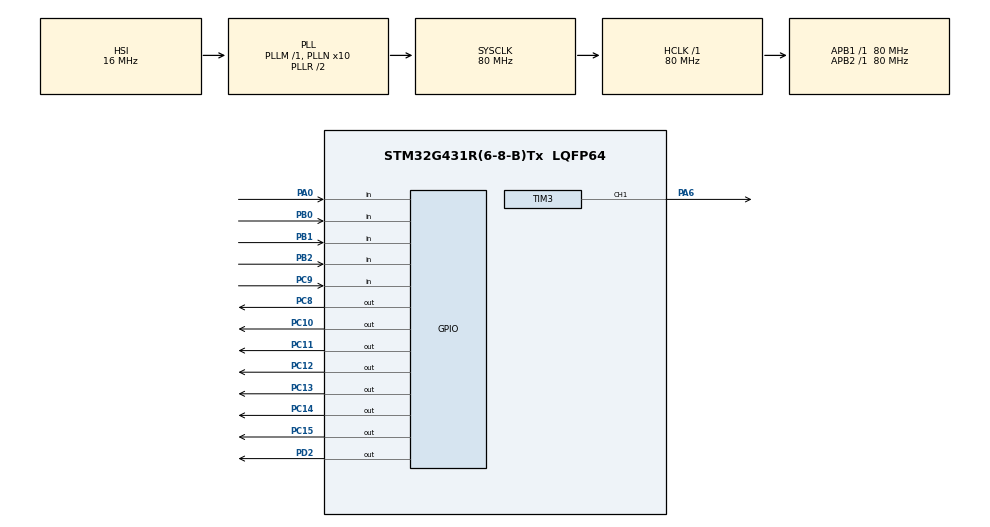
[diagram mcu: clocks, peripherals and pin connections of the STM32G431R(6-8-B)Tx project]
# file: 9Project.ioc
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Mcu.Family=STM32G4
Mcu.Name=STM32G431R(6-8-B)Tx
Mcu.Package=LQFP64
NVIC.PriorityGroup=NVIC_PRIORITYGROUP_4
PA0.Signal=GPIO_Input
PA13.Mode=Serial_Wire
PA13.Signal=SYS_JTMS-SWDIO
PA14.Mode=Serial_Wire
PA14.Signal=SYS_JTCK-SWCLK
PA6.Signal=S_TIM3_CH1
PB0.Signal=GPIO_Input
PB1.Signal=GPIO_Input
PB2.Signal=GPIO_Input
PC10.Signal=GPIO_Output
PC11.Signal=GPIO_Output
PC12.Signal=GPIO_Output
PC13.Signal=GPIO_Output
PC14-OSC32_IN.Signal=GPIO_Output
PC15-OSC32_OUT.Signal=GPIO_Output
PC8.Signal=GPIO_Output
PC9.Signal=GPIO_Input
PD2.Signal=GPIO_Output
PF0-OSC_IN.Mode=HSE-External-Oscillator
PF0-OSC_IN.Signal=RCC_OSC_IN
PF1-OSC_OUT.Mode=HSE-External-Oscillator
PF1-OSC_OUT.Signal=RCC_OSC_OUT
ProjectManager.HeapSize=0x200
ProjectManager.StackSize=0x400
ProjectManager.TargetToolchain=MDK-ARM V5
RCC.ADC12Freq_Value=80000000
RCC.AHBFreq_Value=80000000
RCC.APB1Freq_Value=80000000
RCC.APB1TimFreq_Value=80000000
RCC.APB2Freq_Value=80000000
RCC.APB2TimFreq_Value=80000000
RCC.CortexFreq_Value=80000000
RCC.EXTERNAL_CLOCK_VALUE=12288000
RCC.HCLKFreq_Value=80000000
RCC.HSE_VALUE=24000000
RCC.HSI48_VALUE=48000000
RCC.HSI_VALUE=16000000
RCC.LSE_VALUE=32768
RCC.PLLN=10
RCC.SYSCLKFreq_VALUE=80000000
RCC.SYSCLKSource=RCC_SYSCLKSOURCE_PLLCLK
RCC.USBFreq_Value=80000000
RCC.VCOOutputFreq_Value=160000000
SH.S_TIM3_CH1.0=TIM3_CH1,PWM Generation1 CH1
TIM3.AutoReloadPreload=TIM_AUTORELOAD_PRELOAD_ENABLE
TIM3.Channel-PWM\ Generation1\ CH1=TIM_CHANNEL_1
TIM3.PeriodNoDither=1000
TIM3.Prescaler=79
VP_SYS_VS_DBSignals.Mode=DisableDeadBatterySignals
VP_TIM3_VS_ClockSourceINT.Mode=Internal
board=custom

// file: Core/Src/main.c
/* USER CODE BEGIN Header */
/**
  ******************************************************************************
  * @file           : main.c
  * @brief          : Main program body
  ******************************************************************************
  * @attention
  *
  * <h2><center>&copy; Copyright (c) 2023 STMicroelectronics.
  * All rights reserved.</center></h2>
  *
  * This software component is licensed by ST under BSD 3-Clause license,
  * the "License"; You may not use this file except in compliance with the
  * License. You may obtain a copy of the License at:
  *                        opensource.org/licenses/BSD-3-Clause
  *
  ******************************************************************************
  */
/* USER CODE END Header */
#include "main.h"
#include "tim.h"
#include "gpio.h"

/* USER CODE BEGIN Includes */
#include "lcd.h"
#include "i2c_hal.h"
#include "stdio.h"
#include "string.h"
/* USER CODE END Includes */

/* USER CODE BEGIN PD */
#define KEY1 HAL_GPIO_ReadPin(GPIOB,GPIO_PIN_0)
#define KEY2 HAL_GPIO_ReadPin(GPIOB,GPIO_PIN_1)
#define KEY3 HAL_GPIO_ReadPin(GPIOB,GPIO_PIN_2)
#define KEY4 HAL_GPIO_ReadPin(GPIOA,GPIO_PIN_0)

#define Pressed			1
#define UnPressed		0
#define Long_Pressed	800
uint8_t KEY_FLAG = 0;
#define Key_Long_OK		2
#define KEY_Short_OK	3
#define KEY_Error		4
/* USER CODE END PD */

/* USER CODE BEGIN PV */
u8 key_val,key_down,key_up,key_old;
u8 sta_lcd;
u8 ptr[30];
u8 led_in;
u8 save_id = 0;
u8 save_set[5] = {0x01, 0x04, 0x07, 0x10, 0x14};
u8 t1 = 10;
u8 k2_state, k3_state, k4_state = Key_Long_OK;
u8 hms, k2tt = 0, k4tt = 0, k3tt = 0;
u8 hour, min, sec;
uint32_t GetTick, GetTick1, GetTick2, GetTick3;
u16 times = 0;
u8 start1;
u8 begin = 0;

uint8_t KEYB2_FLAG = 0;
uint8_t KEYB4_FLAG = 0;
uint8_t KEYB4_FLAGS = 0;
uint8_t temp = 0;

uint16_t KEY_TIME = 0;
/* USER CODE END PV */

void SystemClock_Config(void);

/* USER CODE BEGIN 0 */
uint8_t x24c02_read(uint8_t address)
{
	unsigned char val;

	I2CStart();
	I2CSendByte(0xa0);
	I2CWaitAck();

	I2CSendByte(address);
	I2CWaitAck();

	I2CStart();
	I2CSendByte(0xa1);
	I2CWaitAck();
	val = I2CReceiveByte();
	I2CWaitAck();
	I2CStop();

	return(val);
}

void x24c02_write(unsigned char address,unsigned char info)
{

	I2CStart();
	I2CSendByte(0xa0);
	I2CWaitAck();

	I2CSendByte(address);
	I2CWaitAck();
	I2CSendByte(info);
	I2CWaitAck();
	I2CStop();
	HAL_Delay(5);
}

u32 qwe = 800, nn;

u32 ktci = 0;
uint8_t Key_Scan(GPIO_TypeDef *GPIOx, uint16_t GPIO_PIN)
{
	if(HAL_GPIO_ReadPin(GPIOx,GPIO_PIN) == RESET)
	{
		KEY_TIME = 0;
		GetTick = uwTick;
		nn = uwTick;
		while(HAL_GPIO_ReadPin(GPIOx,GPIO_PIN) == RESET)
		{
			KEY_TIME = uwTick - GetTick;
			if(k2tt && GPIOx == GPIOB && GPIO_PIN == GPIO_PIN_2 && KEY_TIME > 800)
			{
				if(uwTick - nn > 1000)
				{
					nn = uwTick;
					if(hms == 1)
					{
						hour += 1;
						if(hour > 24)
							hour = 0;
						LCD_SetTextColor(Yellow);
						LCD_DisplayChar(Line4, 319 - (16 * 7), (hour / 10) + 48);
						LCD_DisplayChar(Line4, 319 - (16 * 8), (hour % 10) + 48);
						LCD_SetTextColor(White);
					}else if(hms == 2)
					{
						min += 1;
						if(min > 60)
							min = 0;
						LCD_SetTextColor(Yellow);
						LCD_DisplayChar(Line4, 319 - (16 * 10), (min / 10) + 48);
						LCD_DisplayChar(Line4, 319 - (16 * 11), (min % 10) + 48);
						LCD_SetTextColor(White);
					}else if(hms == 0)
					{
						sec += 1;
						if(sec > 60)
							sec = 0;
						LCD_SetTextColor(Yellow);
						LCD_DisplayChar(Line4, 319 - (16 * 13), (sec / 10) + 48);
						LCD_DisplayChar(Line4, 319 - (16 * 14), (sec % 10) + 48);
						LCD_SetTextColor(White);
					}
				}

			}
		}
		KEY_FLAG = Pressed;
	}

	if(KEY_FLAG == Pressed && KEY_TIME <= Long_Pressed)
	{
		KEY_FLAG = UnPressed;
		return KEY_Short_OK;
	}
	if(KEY_FLAG == Pressed && KEY_TIME > Long_Pressed)
	{
		KEY_FLAG = UnPressed;
		return Key_Long_OK;
	}

	return KEY_Error;
}

u8 key_scan()
{
	if((KEY1 == 0))
	{
		HAL_Delay(10);
		if(KEY1 == 0) return 1;
	}
	return 0;
}

void led_dis(u8 led)
{
	HAL_GPIO_WritePin(GPIOC,0xff00,GPIO_PIN_SET);
	HAL_GPIO_WritePin(GPIOD,GPIO_PIN_2,GPIO_PIN_SET);
	HAL_GPIO_WritePin(GPIOD,GPIO_PIN_2,GPIO_PIN_RESET);

	HAL_GPIO_WritePin(GPIOC,led<<8,GPIO_PIN_RESET);
	HAL_GPIO_WritePin(GPIOD,GPIO_PIN_2,GPIO_PIN_SET);
	HAL_GPIO_WritePin(GPIOD,GPIO_PIN_2,GPIO_PIN_RESET);
}

void key_Proc()
{
	key_val = key_scan();
	key_down = key_val&(key_val^key_old);
	key_up = ~key_val&(key_val^key_old);
	key_old = key_val;

	if(key_up == 1)
	{
		begin = 1;
		save_id ++;
		if(save_id == 5)
			save_id = 0;
	}
}

void lcd_Proc()
{
	sprintf((char*)ptr,"   No %d", save_id);
	LCD_DisplayStringLine(Line1,(u8*)ptr);
	if(k2tt == 0)
	{
		sprintf((char*)ptr,"       %02d:%02d:%02d", hour, min, sec);
		LCD_DisplayStringLine(Line4,(u8*)ptr);
	}else
	{
		if(hms == 1)
		{
			LCD_SetTextColor(Yellow);
			LCD_DisplayChar(Line4, 319 - (16 * 7), (hour / 10) + 48);
			LCD_DisplayChar(Line4, 319 - (16 * 8), (hour % 10) + 48);
			LCD_SetTextColor(White);
			LCD_DisplayChar(Line4, 319 - (16 * 9), 58);
			LCD_DisplayChar(Line4, 319 - (16 * 10), (min / 10) + 48);
			LCD_DisplayChar(Line4, 319 - (16 * 11), (min % 10) + 48);
			LCD_DisplayChar(Line4, 319 - (16 * 12), 58);
			LCD_DisplayChar(Line4, 319 - (16 * 13), (sec / 10) + 48);
			LCD_DisplayChar(Line4, 319 - (16 * 14), (sec % 10) + 48);

		}else if(hms == 2)
		{
			LCD_DisplayChar(Line4, 319 - (16 * 7), (hour / 10) + 48);
			LCD_DisplayChar(Line4, 319 - (16 * 8), (hour % 10) + 48);
			LCD_DisplayChar(Line4, 319 - (16 * 9), 58);
			LCD_SetTextColor(Yellow);
			LCD_DisplayChar(Line4, 319 - (16 * 10), (min / 10) + 48);
			LCD_DisplayChar(Line4, 319 - (16 * 11), (min % 10) + 48);
			LCD_SetTextColor(White);
			LCD_DisplayChar(Line4, 319 - (16 * 12), 58);
			LCD_DisplayChar(Line4, 319 - (16 * 13), (sec / 10) + 48);
			LCD_DisplayChar(Line4, 319 - (16 * 14), (sec % 10) + 48);
		}else if(hms == 0)
		{
			LCD_DisplayChar(Line4, 319 - (16 * 7), (hour / 10) + 48);
			LCD_DisplayChar(Line4, 319 - (16 * 8), (hour % 10) + 48);
			LCD_DisplayChar(Line4, 319 - (16 * 9), 58);
			LCD_DisplayChar(Line4, 319 - (16 * 10), (min / 10) + 48);
			LCD_DisplayChar(Line4, 319 - (16 * 11), (min % 10) + 48);
			LCD_DisplayChar(Line4, 319 - (16 * 12), 58);
			LCD_SetTextColor(Yellow);
			LCD_DisplayChar(Line4, 319 - (16 * 13), (sec / 10) + 48);
			LCD_DisplayChar(Line4, 319 - (16 * 14), (sec % 10) + 48);
			LCD_SetTextColor(White);
		}
	}

	if(begin == 0)
	{
		sprintf((char*)ptr,"      StandBy   ");
		LCD_DisplayStringLine(Line8,(u8*)ptr);
	}

	if(k4_state == Key_Long_OK)
	{
		sprintf((char*)ptr,"      StandBy   ");
		LCD_DisplayStringLine(Line8,(u8*)ptr);
	}else if(k4_state == KEY_Short_OK && k4tt == 0)
	{
		sprintf((char*)ptr,"      Pause     ");
		LCD_DisplayStringLine(Line8,(u8*)ptr);
	}else if(k4_state == KEY_Short_OK && k4tt == 1)
	{
		sprintf((char*)ptr,"      Running   ");
		LCD_DisplayStringLine(Line8,(u8*)ptr);
	}else if(k2_state == KEY_Short_OK)
	{
		sprintf((char*)ptr,"      Setting   ");
		LCD_DisplayStringLine(Line8,(u8*)ptr);
	}else if(k2_state == Key_Long_OK)
	{
		sprintf((char*)ptr,"      StandBy   ");
		LCD_DisplayStringLine(Line8,(u8*)ptr);
	}
}

void led_Proc()
{
	if(k4tt == 0)
	{
		__HAL_TIM_SetCompare(&htim3, TIM_CHANNEL_3, 0);
		led_in = 0x00;
	}

	if(k4tt == 1)
	{
		__HAL_TIM_SetCompare(&htim3, TIM_CHANNEL_3, 800);
		if(uwTick - GetTick2 > 500)
		{
			GetTick2 = uwTick;
			led_in ^= 0x01;
		}
	}

	led_dis(led_in);
}

void key2_work()
{

	k2_state = Key_Scan(GPIOB, GPIO_PIN_1);
	if(k2_state == KEY_Short_OK)
	{
		begin = 1;
		k2tt = 1;
		hms ++;
		if(hms == 3)
			hms = 0;
	}else if(k2_state == Key_Long_OK)
	{
		begin = 1;
		k2tt = 0;
		x24c02_write(0x20, save_id);
		x24c02_write(save_set[save_id], hour);
		x24c02_write(save_set[save_id] + 0x01, min);
		x24c02_write(save_set[save_id] + 0x02, sec);
	}
}

void key3_work()
{

	k3_state = Key_Scan(GPIOB, GPIO_PIN_2);
	if(k3_state == KEY_Short_OK)
	{
		begin = 1;
		if(k2tt == 1)
		{
			if(hms == 1)
			{
				hour ++;
				if(hour > 24)
					hour = 0;
			}else if(hms == 2)
			{
				min ++;
				if(min > 60)
					min = 0;
			}else if(hms == 0)
			{
				sec ++;
				if(sec > 60)
					sec = 0;
			}
		}
	}
}

void secpp()
{
	if(k4tt == 1)
	{
		if(uwTick - GetTick1 > 1000)
		{
			sec += 1;
			if(sec > 60)
			{
				sec = 0;
				min ++;
			}
			if(min > 60)
			{
				min = 0;
				hour ++;
			}
			if(hour > 24)
			{
				hour = 0;
			}
			GetTick1 = uwTick;
		}
	}
}

void key4_work()
{

	k4_state = Key_Scan(GPIOA, GPIO_PIN_0);
	if(k4_state == KEY_Short_OK)
	{
		begin = 1;
		k4tt = !k4tt;
		GetTick2 = uwTick;
		GetTick1 = uwTick;
	}
}

/* USER CODE END 0 */

int main(void)
{

  /* MCU Configuration--------------------------------------------------------*/

  /* Reset of all peripherals, Initializes the Flash interface and the Systick. */
  HAL_Init();

  /* Configure the system clock */
  SystemClock_Config();

  /* Initialize all configured peripherals */
  MX_GPIO_Init();
  MX_TIM3_Init();
  /* USER CODE BEGIN 2 */
	I2CInit();
	LCD_Init();

	LCD_Clear(Black);
	LCD_SetBackColor(Black);
	LCD_SetTextColor(White);
	led_dis(0);
	HAL_TIM_PWM_Start_IT(&htim3, TIM_CHANNEL_1);

	start1 = x24c02_read(0x00);
	x24c02_write(0x00, 0x44);

	if(start1 == 0x44)
	{
		save_id = x24c02_read(0x20);
		hour = x24c02_read(save_set[save_id]);
		min = x24c02_read(save_set[save_id] + 0x01);
		sec = x24c02_read(save_set[save_id] + 0x02);
	}else
	{
		x24c02_write(0x20, save_id);
		x24c02_write(save_set[save_id], hour);
		x24c02_write(save_set[save_id] + 0x01, min);
		x24c02_write(save_set[save_id] + 0x02, sec);
	}

  /* USER CODE END 2 */

  /* Infinite loop */
  while (1)
  {

    /* USER CODE BEGIN 3 */

		key_Proc();
		key2_work();
		key3_work();
		key4_work();
		led_Proc();
		lcd_Proc();
		secpp();

  }
  /* USER CODE END 3 */
}

void SystemClock_Config(void)
{
  RCC_OscInitTypeDef RCC_OscInitStruct = {0};
  RCC_ClkInitTypeDef RCC_ClkInitStruct = {0};

  /** Configure the main internal regulator output voltage
  */
  HAL_PWREx_ControlVoltageScaling(PWR_REGULATOR_VOLTAGE_SCALE1);
  /** Initializes the RCC Oscillators according to the specified parameters
  * in the RCC_OscInitTypeDef structure.
  */
  RCC_OscInitStruct.OscillatorType = RCC_OSCILLATORTYPE_HSI;
  RCC_OscInitStruct.HSIState = RCC_HSI_ON;
  RCC_OscInitStruct.HSICalibrationValue = RCC_HSICALIBRATION_DEFAULT;
  RCC_OscInitStruct.PLL.PLLState = RCC_PLL_ON;
  RCC_OscInitStruct.PLL.PLLSource = RCC_PLLSOURCE_HSI;
  RCC_OscInitStruct.PLL.PLLM = RCC_PLLM_DIV1;
  RCC_OscInitStruct.PLL.PLLN = 10;
  RCC_OscInitStruct.PLL.PLLP = RCC_PLLP_DIV2;
  RCC_OscInitStruct.PLL.PLLQ = RCC_PLLQ_DIV2;
  RCC_OscInitStruct.PLL.PLLR = RCC_PLLR_DIV2;
  if (HAL_RCC_OscConfig(&RCC_OscInitStruct) != HAL_OK)
  {
    Error_Handler();
  }
  /** Initializes the CPU, AHB and APB buses clocks
  */
  RCC_ClkInitStruct.ClockType = RCC_CLOCKTYPE_HCLK|RCC_CLOCKTYPE_SYSCLK
                              |RCC_CLOCKTYPE_PCLK1|RCC_CLOCKTYPE_PCLK2;
  RCC_ClkInitStruct.SYSCLKSource = RCC_SYSCLKSOURCE_PLLCLK;
  RCC_ClkInitStruct.AHBCLKDivider = RCC_SYSCLK_DIV1;
  RCC_ClkInitStruct.APB1CLKDivider = RCC_HCLK_DIV1;
  RCC_ClkInitStruct.APB2CLKDivider = RCC_HCLK_DIV1;

  if (HAL_RCC_ClockConfig(&RCC_ClkInitStruct, FLASH_LATENCY_2) != HAL_OK)
  {
    Error_Handler();
  }
}

void Error_Handler(void)
{
  __disable_irq();
  while (1)
  {
  }
}

/************************ (C) COPYRIGHT STMicroelectronics *****END OF FILE****/
